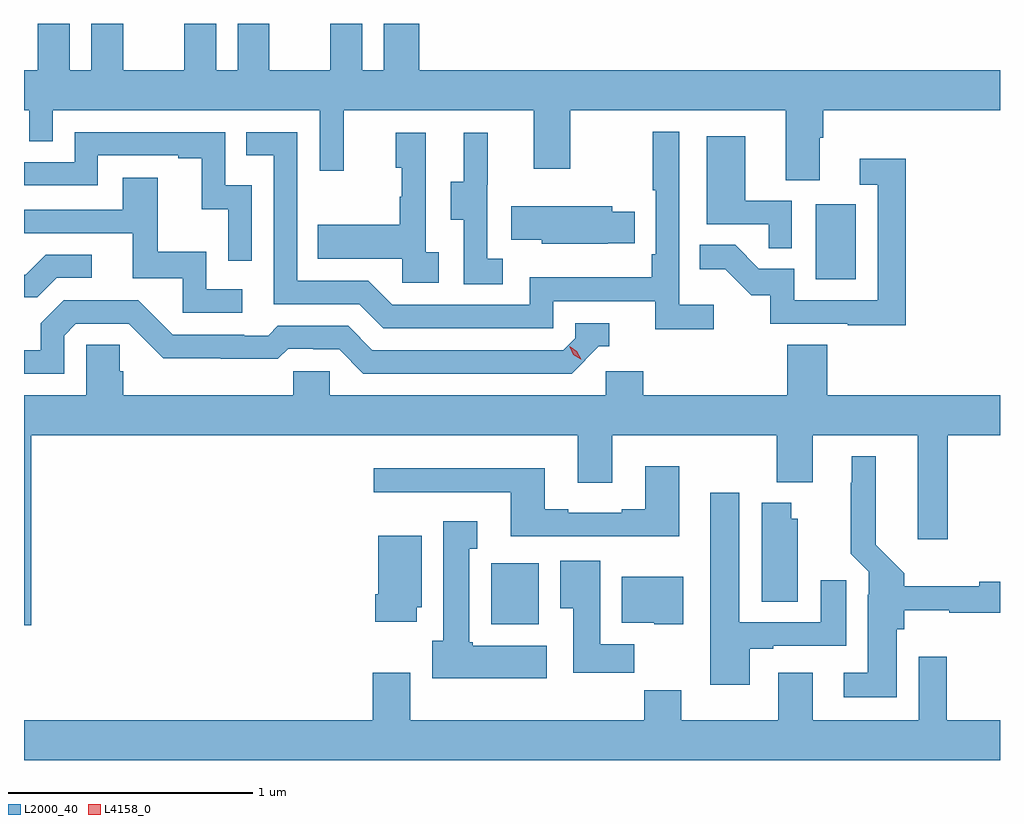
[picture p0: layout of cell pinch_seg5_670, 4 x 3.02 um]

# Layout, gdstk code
import gdstk
lib = gdstk.Library(unit=1e-6, precision=1e-09)
def R(c, l, rs):  # rectangles x0, y0, x1, y1
    for r in rs: c.add(gdstk.rectangle(r[:2], r[2:], *l))
def P(c, l, *ps):  # polygons
    for p in ps: c.add(gdstk.Polygon(p, *l))
L2000_40 = (2000, 40)
L4158_0 = (4158, 0)

pinch_seg5_670 = lib.new_cell('pinch_seg5_670')
R(pinch_seg5_670, L2000_40, [(1043.595,849.326,1043.791,849.576), (1044.926,850.74,1045.09,851.047)])
P(pinch_seg5_670, L2000_40, [(1044.943,851.32),(1044.956,851.32),(1044.956,851.432),(1045.681,851.432),(1045.681,851.596),(1043.3,851.596),(1043.3,851.787),(1043.156,851.787),(1043.156,851.596),(1043.068,851.596),(1043.068,851.787),(1042.937,851.787),(1042.937,851.596),(1042.687,851.596),(1042.687,851.787),(1042.556,851.787),(1042.556,851.596),(1042.468,851.596),(1042.468,851.787),(1042.337,851.787),(1042.337,851.596),(1042.087,851.596),(1042.087,851.787),(1041.956,851.787),(1041.956,851.596),(1041.868,851.596),(1041.868,851.787),(1041.737,851.787),(1041.737,851.596),(1041.681,851.596),(1041.681,851.432),(1041.702,851.432),(1041.702,851.305),(1041.798,851.305),(1041.798,851.432),(1042.893,851.432),(1042.893,851.184),(1042.991,851.184),(1042.991,851.432),(1043.771,851.432),(1043.771,851.193),(1043.919,851.193),(1043.919,851.432),(1044.803,851.432),(1044.803,851.146),(1044.943,851.146)],
  [(1044.508,850.636),(1044.366,850.636),(1044.366,851.344),(1044.258,851.344),(1044.258,851.104),(1044.27,851.104),(1044.27,850.843),(1044.253,850.843),(1044.253,850.747),(1043.754,850.747),(1043.754,850.635),(1043.19,850.635),(1043.091,850.734),(1042.8,850.734),(1042.8,851.343),(1042.591,851.343),(1042.591,851.247),(1042.704,851.247),(1042.704,850.638),(1043.054,850.638),(1043.153,850.539),(1043.85,850.539),(1043.85,850.65),(1044.269,850.65),(1044.269,850.534),(1044.508,850.534)],
  [(1042.614,851.124),(1042.506,851.124),(1042.506,851.343),(1041.888,851.343),(1041.888,851.22),(1041.681,851.22),(1041.681,851.124),(1041.984,851.124),(1041.984,851.247),(1042.313,851.247),(1042.313,851.235),(1042.409,851.235),(1042.409,851.027),(1042.518,851.027),(1042.518,850.815),(1042.614,850.815)],
  [(1043.644,850.823),(1043.58,850.823),(1043.58,851.127),(1043.582,851.127),(1043.582,851.341),(1043.483,851.341),(1043.483,851.139),(1043.429,851.139),(1043.429,850.984),(1043.484,850.984),(1043.484,850.72),(1043.644,850.72)],
  [(1043.38,850.85),(1043.328,850.85),(1043.328,851.341),(1043.204,851.341),(1043.204,851.196),(1043.23,851.196),(1043.23,851.078),(1043.22,851.078),(1043.22,850.963),(1042.885,850.963),(1042.885,850.823),(1043.232,850.823),(1043.232,850.725),(1043.38,850.725)],
  [(1044.828,851.061),(1044.637,851.061),(1044.637,851.326),(1044.479,851.326),(1044.479,850.965),(1044.733,850.965),(1044.733,850.867),(1044.828,850.867)],
  [(1045.295,851.233),(1045.107,851.233),(1045.107,851.127),(1045.179,851.127),(1045.179,850.653),(1044.837,850.653),(1044.837,850.782),(1044.693,850.782),(1044.595,850.88),(1044.451,850.88),(1044.451,850.781),(1044.555,850.781),(1044.662,850.674),(1044.739,850.674),(1044.739,850.557),(1045.057,850.557),(1045.057,850.552),(1045.295,850.552)],
  [(1042.576,850.698),(1042.428,850.698),(1042.428,850.852),(1042.229,850.852),(1042.229,851.155),(1042.085,851.155),(1042.085,851.025),(1041.681,851.025),(1041.681,850.929),(1042.127,850.929),(1042.127,850.743),(1042.332,850.743),(1042.332,850.602),(1042.576,850.602)],
  [(1044.074,850.887),(1044.185,850.887),(1044.185,851.016),(1044.091,851.016),(1044.091,851.038),(1043.677,851.038),(1043.677,850.901),(1043.802,850.901),(1043.802,850.886),(1044.074,850.886)],
  [(1041.816,850.746),(1041.958,850.746),(1041.958,850.839),(1041.77,850.839),(1041.689,850.758),(1041.681,850.758),(1041.681,850.666),(1041.736,850.666)],
  [(1041.846,850.509),(1041.894,850.557),(1042.11,850.557),(1042.252,850.415),(1042.488,850.415),(1042.488,850.413),(1042.721,850.413),(1042.763,850.455),(1042.866,850.455),(1042.866,850.452),(1042.973,850.452),(1043.072,850.353),(1043.925,850.353),(1044.036,850.464),(1044.079,850.464),(1044.079,850.56),(1043.94,850.56),(1043.94,850.497),(1043.892,850.449),(1043.109,850.449),(1043.01,850.548),(1042.721,850.548),(1042.682,850.509),(1042.583,850.509),(1042.583,850.512),(1042.29,850.512),(1042.149,850.653),(1041.843,850.653),(1041.749,850.559),(1041.749,850.449),(1041.681,850.449),(1041.681,850.353),(1041.846,850.353)],
  [(1041.71,850.1),(1043.951,850.1),(1043.951,849.906),(1044.091,849.906),(1044.091,850.1),(1044.766,850.1),(1044.766,849.908),(1044.913,849.908),(1044.913,850.1),(1045.343,850.1),(1045.343,849.675),(1045.466,849.675),(1045.466,850.1),(1045.681,850.1),(1045.681,850.264),(1044.974,850.264),(1044.974,850.472),(1044.809,850.472),(1044.809,850.264),(1044.218,850.264),(1044.218,850.362),(1044.066,850.362),(1044.066,850.264),(1042.935,850.264),(1042.935,850.362),(1042.785,850.362),(1042.785,850.264),(1042.088,850.264),(1042.088,850.362),(1042.073,850.362),(1042.073,850.472),(1041.936,850.472),(1041.936,850.264),(1041.681,850.264),(1041.681,849.321),(1041.71,849.321)],
  [(1045.258,849.306),(1045.289,849.306),(1045.289,849.383),(1045.472,849.383),(1045.472,849.372),(1045.681,849.372),(1045.681,849.5),(1045.596,849.5),(1045.596,849.482),(1045.289,849.482),(1045.289,849.534),(1045.171,849.652),(1045.171,850.015),(1045.073,850.015),(1045.073,849.905),(1045.069,849.905),(1045.069,849.614),(1045.143,849.54),(1045.143,849.446),(1045.139,849.446),(1045.139,849.127),(1045.041,849.127),(1045.041,849.026),(1045.258,849.026)],
  [(1044.367,849.973),(1044.227,849.973),(1044.227,849.796),(1044.131,849.796),(1044.131,849.783),(1043.911,849.783),(1043.911,849.796),(1043.815,849.796),(1043.815,849.964),(1043.115,849.964),(1043.115,849.867),(1043.675,849.867),(1043.675,849.687),(1044.135,849.687),(1044.135,849.686),(1044.367,849.686)],
  [(1044.655,849.225),(1044.751,849.225),(1044.751,849.237),(1045.051,849.237),(1045.051,849.505),(1044.947,849.505),(1044.947,849.333),(1044.613,849.333),(1044.613,849.865),(1044.494,849.865),(1044.494,849.078),(1044.655,849.078)],
  [(1044.853,849.759),(1044.826,849.759),(1044.826,849.823),(1044.704,849.823),(1044.704,849.418),(1044.853,849.418)],
  [(1043.824,849.238),(1043.52,849.238),(1043.52,849.252),(1043.506,849.252),(1043.506,849.635),(1043.539,849.635),(1043.539,849.748),(1043.399,849.748),(1043.399,849.258),(1043.354,849.258),(1043.354,849.104),(1043.824,849.104)],
  [(1043.29,849.396),(1043.311,849.396),(1043.311,849.688),(1043.132,849.688),(1043.132,849.448),(1043.12,849.448),(1043.12,849.336),(1043.29,849.336)],
  [(1044.182,849.244),(1044.043,849.244),(1044.043,849.586),(1043.879,849.586),(1043.879,849.392),(1043.933,849.392),(1043.933,849.126),(1044.182,849.126)],
  [(1044.382,849.52),(1044.131,849.52),(1044.131,849.332),(1044.264,849.332),(1044.264,849.326),(1044.382,849.326)],
  [(1045.681,848.932),(1045.463,848.932),(1045.463,849.193),(1045.347,849.193),(1045.347,848.932),(1044.913,848.932),(1044.913,849.127),(1044.773,849.127),(1044.773,848.932),(1044.375,848.932),(1044.375,849.056),(1044.223,849.056),(1044.223,848.932),(1043.263,848.932),(1043.263,849.127),(1043.111,849.127),(1043.111,848.932),(1041.681,848.932),(1041.681,848.768),(1045.681,848.768)])
P(pinch_seg5_670, L4158_0, [(1043.963,850.411),(1043.933,850.431),(1043.917,850.463),(1043.917,850.464),(1043.917,850.464),(1043.947,850.444),(1043.964,850.412),(1043.964,850.411)])

lib.write_gds('pinch_seg5_670.gds')
